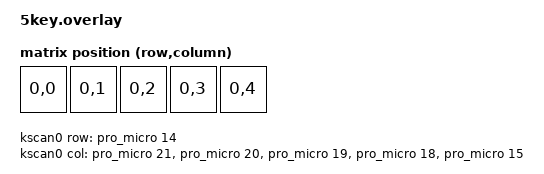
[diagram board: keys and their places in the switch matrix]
/*
 * Copyright (c) 2022 The ZMK Contributors
 *
 * SPDX-License-Identifier: MIT
 */

#include <dt-bindings/zmk/matrix_transform.h>
#include <physical_layouts.dtsi>

/ {
    chosen {
            zmk,kscan = &kscan0;
            zmk,physical-layout = &default_layout;
            zephyr,display = &st7735s160x80;
    };

    kscan0: kscan_0 {
            compatible = "zmk,kscan-gpio-matrix";
            wakeup-source;
            diode-direction = "col2row";

            col-gpios
                = <&pro_micro 21 GPIO_ACTIVE_HIGH>
                , <&pro_micro 20 GPIO_ACTIVE_HIGH>
                , <&pro_micro 19 GPIO_ACTIVE_HIGH>
                , <&pro_micro 18 GPIO_ACTIVE_HIGH>
                , <&pro_micro 15 GPIO_ACTIVE_HIGH>
                ;

            row-gpios
                = <&pro_micro 14 (GPIO_ACTIVE_HIGH | GPIO_PULL_DOWN)>
                ;
    };

    matrix_transform_0: keymap_transform_0 {
        compatible = "zmk,matrix-transform";
        columns = <5>;
        rows = <1>;

        map = <RC(0,0) RC(0,1) RC(0,2) RC(0,3) RC(0,4)>;
    };

    default_layout: default_layout {
        compatible = "zmk,physical-layout";
        display-name = "default Layout";
        transform = <&matrix_transform_0>;
        // kscan = <&kscan_0>;
        keys  //                     w   h    x    y     rot    rx    ry
            = <&key_physical_attrs 100 100    0    0       0     0     0>
            , <&key_physical_attrs 100 100  100    0       0     0     0>
            , <&key_physical_attrs 100 100  200    0       0     0     0>
            , <&key_physical_attrs 100 100  300    0       0     0     0>
            , <&key_physical_attrs 100 100  400    0       0     0     0>
            ;
    };

    default_position_map: default_position_map {
        compatible = "zmk,physical-layout-position-map";
        complete;

        default_map {
            physical-layout = <&default_layout>;
            positions
                = <0  1  2  3  4>;
        };
    };
};

&pinctrl {
    spi0_default: spi0_default {
        group1 {
            psels =   <NRF_PSEL( SPIM_SCK, 0, 17)> 
                    , <NRF_PSEL(SPIM_MOSI, 0, 20)>
                    , <NRF_PSEL(SPIM_MISO, 0, 22)>
                    ;
        };
    };
    spi0_sleep: spi0_sleep {
        group1 {
            psels =   <NRF_PSEL( SPIM_SCK, 0, 17)> 
                    , <NRF_PSEL(SPIM_MOSI, 0, 20)>
                    , <NRF_PSEL(SPIM_MISO, 0, 22)>
                    ;
            low-power-enable;
        };
    };
};

&pro_micro_i2c {
    status = "disabled";
};

board_spi: &spi0 {
  status = "okay";
  compatible = "nordic,nrf-spim";
  pinctrl-0 = <&spi0_default>;
  pinctrl-1 = <&spi0_sleep>;
  pinctrl-names = "default";
    cs-gpios = <&gpio0 24 GPIO_ACTIVE_LOW> ;

	st7735s160x80: st7735r@0 {
		compatible = "sitronix,st7735r";
		spi-max-frequency = <1000000>;
		reg = <0>;
		cmd-data-gpios = <&gpio1 0 GPIO_ACTIVE_LOW>;	
		reset-gpios = <&gpio0 11  GPIO_ACTIVE_LOW>;
		width = <80>;
		height = <160>;
		x-offset = <0>;
		y-offset = <0>;
		madctl = <0xC0>;
		colmod = <0x05>;
		caset = [00 00 00 4F];
		raset = [00 00 00 9F];
		vmctr1 = <0x0e>;
		invctr = <0x07>;
		pwctr1 = [a2 02 84];
		pwctr2 = [c5];
		pwctr3 = [0a 00];
		pwctr4 = [8a 2a];
		pwctr5 = [8a ee];
		frmctr1 = [01 2c 2d];
		frmctr2 = [01 2c 2d];
		frmctr3 = [01 2c 2d 01 2c 2d];
		gamctrp1 = [02 1c 07 12 37 32 29 2d 29 25 2b 39 00 01 03 10];
		gamctrn1 = [03 1d 07 06 2e 2c 29 2d 2e 2e 37 3f 00 00 02 10];
	};
};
